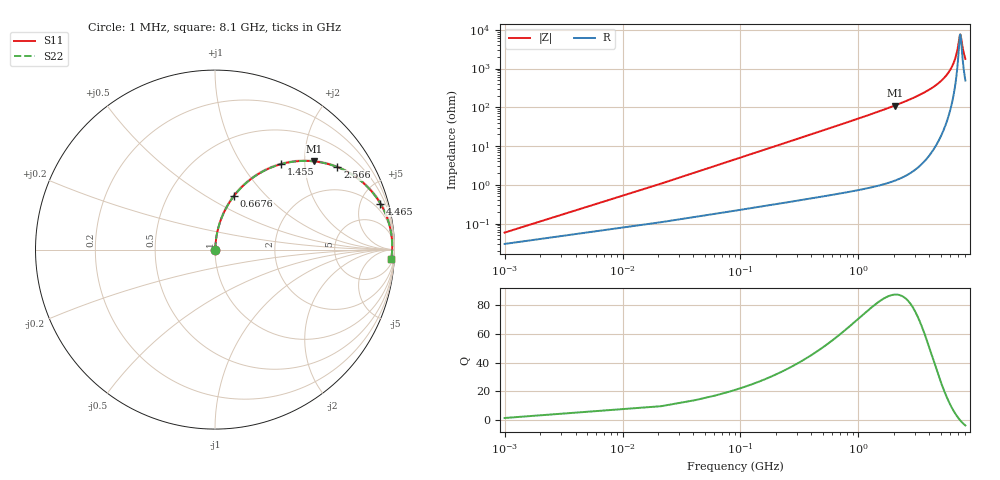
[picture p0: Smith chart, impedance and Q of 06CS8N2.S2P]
! Coilcraft 0603CS-8N2 Chip Inductor
! 1 August 2002
# MHZ S MA R 50
!Freq  MagS11  AngS11  MagS21  AngS21  MagS12  AngS12  MagS22  AngS22
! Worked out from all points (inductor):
!   402 points, 1 MHz to 8.1 GHz, reference 50 ohm
!   read as one part in series: L = 8 nH near 41.4 MHz
!   highest Q = 87 at 2.041 GHz (marker M1), where L = 8.67 nH
!   self-resonance near 7.333 GHz
!   S11 on the Smith chart (normalised r, x): 1 MHz: 1.00, +0.00; 667.6 MHz: 1.01, +0.68; 1.455 GHz: 1.02, +1.52; 2.566 GHz: 1.04, +2.94; 4.465 GHz: 1.19, +7.14; 8.1 GHz: 11, -34
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1  0.0005842 59.3  0.9997 -0.0  0.9997 -0.0  0.0005842 59.3
61.6  0.03095 84.9  0.9977 -1.8  0.9977 -1.8  0.03095 84.9
102  0.05115 84.5  0.9964 -2.9  0.9964 -2.9  0.05115 84.5
142.4  0.07128 83.8  0.9948 -4.1  0.9948 -4.1  0.07128 83.8
223.2  0.1113 81.9  0.9905 -6.4  0.9905 -6.4  0.1113 81.9
344.4  0.1703 78.8  0.9813 -9.8  0.9813 -9.8  0.1703 78.8
667.6  0.3189 70.4  0.9423 -18.6  0.9423 -18.6  0.3189 70.4
1354.4  0.5728 54.3  0.8125 -34.9  0.8125 -34.9  0.5728 54.3
1455.4  0.6024 52.3  0.7908 -37.0  0.7908 -37.0  0.6024 52.3
2041.2  0.7395 41.7  0.6647 -47.7  0.6647 -47.7  0.7395 41.7
2566.4  0.8223 34.0  0.5592 -55.3  0.5592 -55.3  0.8223 34.0
2707.8  0.8398 32.2  0.5327 -57.1  0.5327 -57.1  0.8398 32.2
4061.2  0.9411 18.6  0.3194 -70.2  0.3194 -70.2  0.9411 18.6
4465.2  0.9565 15.5  0.268 -73.0  0.268 -73.0  0.9565 15.5
5414.6  0.9782 9.4  0.1635 -77.7  0.1635 -77.7  0.9782 9.4
6222.6  0.986 5.1  0.08867 -78.4  0.08867 -78.4  0.986 5.1
6768  0.9876 2.5  0.04441 -72.6  0.04441 -72.6  0.9876 2.5
6970  0.9876 1.6  0.02967 -64.6  0.02967 -64.6  0.9876 1.6
7232.6  0.9873 0.4  0.01468 -29.6  0.01468 -29.6  0.9873 0.4
7333.6  0.987 -0.0  0.01301 0.3  0.01301 0.3  0.987 -0.0
7778  0.9852 -1.8  0.03458 63.7  0.03458 63.7  0.9852 -1.8
8100  0.9833 -3.0  0.05524 70.9  0.05524 70.9  0.9833 -3.0
